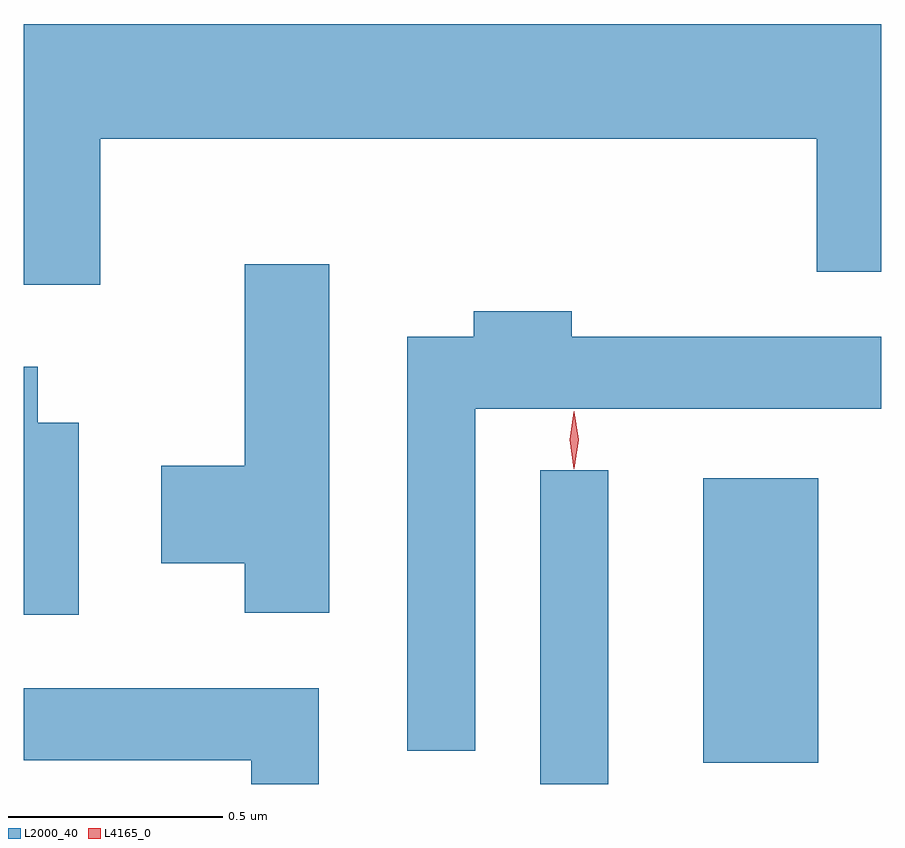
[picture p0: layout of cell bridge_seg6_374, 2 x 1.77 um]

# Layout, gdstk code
import gdstk
lib = gdstk.Library(unit=1e-6, precision=1e-09)
def R(c, l, rs):  # rectangles x0, y0, x1, y1
    for r in rs: c.add(gdstk.rectangle(r[:2], r[2:], *l))
def P(c, l, *ps):  # polygons
    for p in ps: c.add(gdstk.Polygon(p, *l))
L2000_40 = (2000, 40)
L4165_0 = (4165, 0)

bridge_seg6_374 = lib.new_cell('bridge_seg6_374')
R(bridge_seg6_374, L2000_40, [(1279.366,1537.431,1279.524,1538.163), (1279.746,1537.481,1280.014,1538.144)])
P(bridge_seg6_374, L2000_40, [(1278.339,1538.936),(1280.011,1538.936),(1280.011,1538.626),(1280.161,1538.626),(1280.161,1539.204),(1278.161,1539.204),(1278.161,1538.596),(1278.339,1538.596)],
  [(1278.874,1538.644),(1278.676,1538.644),(1278.676,1538.174),(1278.481,1538.174),(1278.481,1537.946),(1278.676,1537.946),(1278.676,1537.831),(1278.874,1537.831)],
  [(1279.214,1538.306),(1280.161,1538.306),(1280.161,1538.474),(1279.439,1538.474),(1279.439,1538.534),(1279.211,1538.534),(1279.211,1538.474),(1279.056,1538.474),(1279.056,1537.508),(1279.214,1537.508)],
  [(1278.289,1538.274),(1278.194,1538.274),(1278.194,1538.404),(1278.161,1538.404),(1278.161,1537.826),(1278.289,1537.826)],
  [(1278.849,1537.654),(1278.161,1537.654),(1278.161,1537.486),(1278.691,1537.486),(1278.691,1537.431),(1278.849,1537.431)])
P(bridge_seg6_374, L4165_0, [(1279.444,1538.167),(1279.435,1538.234),(1279.444,1538.3),(1279.445,1538.301),(1279.445,1538.3),(1279.455,1538.234),(1279.445,1538.167),(1279.445,1538.167)])

lib.write_gds('bridge_seg6_374.gds')
